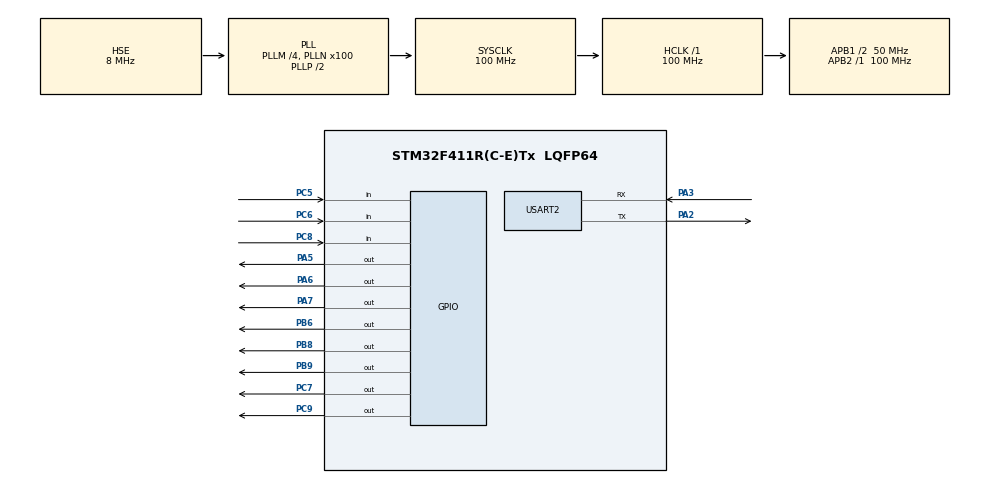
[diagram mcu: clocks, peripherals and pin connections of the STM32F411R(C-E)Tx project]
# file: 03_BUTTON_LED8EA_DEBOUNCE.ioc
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Mcu.Family=STM32F4
Mcu.Name=STM32F411R(C-E)Tx
Mcu.Package=LQFP64
NVIC.PriorityGroup=NVIC_PRIORITYGROUP_4
NVIC.USART2_IRQn=true\:0\:0\:false\:false\:true\:true\:true\:true
PA13.Mode=Serial_Wire
PA13.Signal=SYS_JTMS-SWDIO
PA14.Mode=Serial_Wire
PA14.Signal=SYS_JTCK-SWCLK
PA2.Mode=Asynchronous
PA2.Signal=USART2_TX
PA3.Mode=Asynchronous
PA3.Signal=USART2_RX
PA5.Signal=GPIO_Output
PA6.Signal=GPIO_Output
PA7.Signal=GPIO_Output
PB6.Signal=GPIO_Output
PB8.Signal=GPIO_Output
PB9.Signal=GPIO_Output
PC5.Signal=GPIO_Input
PC6.Signal=GPIO_Input
PC7.Signal=GPIO_Output
PC8.GPIO_Mode=GPIO_MODE_INPUT
PC8.Signal=GPIO_Input
PC9.Signal=GPIO_Output
PH0\ -\ OSC_IN.Mode=HSE-External-Oscillator
PH0\ -\ OSC_IN.Signal=RCC_OSC_IN
PH1\ -\ OSC_OUT.Mode=HSE-External-Oscillator
PH1\ -\ OSC_OUT.Signal=RCC_OSC_OUT
ProjectManager.HeapSize=0x200
ProjectManager.StackSize=0x400
ProjectManager.TargetToolchain=STM32CubeIDE
RCC.48MHZClocksFreq_Value=50000000
RCC.AHBFreq_Value=100000000
RCC.APB1CLKDivider=RCC_HCLK_DIV2
RCC.APB1Freq_Value=50000000
RCC.APB1TimFreq_Value=100000000
RCC.APB2Freq_Value=100000000
RCC.APB2TimFreq_Value=100000000
RCC.CortexFreq_Value=100000000
RCC.HCLKFreq_Value=100000000
RCC.HSE_VALUE=8000000
RCC.HSI_VALUE=16000000
RCC.LSE_VALUE=32768
RCC.PLLM=4
RCC.PLLN=100
RCC.PLLSourceVirtual=RCC_PLLSOURCE_HSE
RCC.SYSCLKFreq_VALUE=100000000
RCC.SYSCLKSource=RCC_SYSCLKSOURCE_PLLCLK
RCC.VCOOutputFreq_Value=200000000
USART2.VirtualMode=VM_ASYNC
board=custom

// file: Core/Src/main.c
/* USER CODE BEGIN Header */
/**
  ******************************************************************************
  * @file           : main.c
  * @brief          : Main program body
  ******************************************************************************
  * @attention
  *
  * Copyright (c) 2025 STMicroelectronics.
  * All rights reserved.
  *
  * This software is licensed under terms that can be found in the LICENSE file
  * in the root directory of this software component.
  * If no LICENSE file comes with this software, it is provided AS-IS.
  *
  ******************************************************************************
  */
/* USER CODE END Header */
#include "main.h"
#include "usart.h"
#include "gpio.h"

/* USER CODE BEGIN Includes */

#include "led.h"

/* USER CODE END Includes */

/* USER CODE BEGIN PD */

#define DEBOUNCE_DELAY  50 //디바운드 딜레이 50ms 주기 위해 선언!!

/* USER CODE END PD */

void SystemClock_Config(void);
/* USER CODE BEGIN PFP */

uint32_t millis() //뭔지 모르지만 32비트형 데이터를  반환
{
  return HAL_GetTick();
}

/* USER CODE END PFP */

int main(void)
{

  /* MCU Configuration--------------------------------------------------------*/

  /* Reset of all peripherals, Initializes the Flash interface and the Systick. */
  HAL_Init();

  /* Configure the system clock */
  SystemClock_Config();

  /* Initialize all configured peripherals */
  MX_GPIO_Init();
  MX_USART2_UART_Init();
  /* USER CODE BEGIN 2 */

  uint32_t lastDebounceTime = 0; //메인함수 안의 지역변수
  GPIO_PinState lastButtonState = GPIO_PIN_SET; // 마지막 버튼 상태.

  /* USER CODE END 2 */

  /* Infinite loop */
  /* USER CODE BEGIN WHILE */
  while (1)
  {
    // 현재 버튼 상태를 읽어오는 건데
    // 눌럿을때 LOW, 안눌렀으며 HIGH
    GPIO_PinState currentButtonState = HAL_GPIO_ReadPin(GPIOC, GPIO_PIN_8);

    // 기존의 상태와 (lastButtonState)와 비교를 하는데
    // 버튼 상태가 변했는지 확인
    if(currentButtonState != lastButtonState) //눌렀다는 애기
    {
      // 디바운스 시간 까지 대기 (단순하게.. 상태가 변해서 유지하는 시간이 설정한 50ms 지났느나)
      if(millis() - lastDebounceTime > DEBOUNCE_DELAY)
      {
        //현재 가져온 산태가 ... 버튼이 눌렀다면 .. (버튼이 눌리면 풀업저항이기 때문에  LOW 임)
        if(currentButtonState == GPIO_PIN_RESET)
        {
          //버튼 눌렸을때 실행할 코드
          ledOn(8);
        }
        else
        {
          // 버튼이 눌리지 않았을때 실행 할 코드
          ledOff(8);
        }

        lastDebounceTime = millis();
      }
    } // endif

    lastButtonState = currentButtonState;

    /* USER CODE END WHILE */

  }
}

void SystemClock_Config(void)
{
  RCC_OscInitTypeDef RCC_OscInitStruct = {0};
  RCC_ClkInitTypeDef RCC_ClkInitStruct = {0};

  /** Configure the main internal regulator output voltage
  */
  __HAL_RCC_PWR_CLK_ENABLE();
  __HAL_PWR_VOLTAGESCALING_CONFIG(PWR_REGULATOR_VOLTAGE_SCALE1);

  /** Initializes the RCC Oscillators according to the specified parameters
  * in the RCC_OscInitTypeDef structure.
  */
  RCC_OscInitStruct.OscillatorType = RCC_OSCILLATORTYPE_HSE;
  RCC_OscInitStruct.HSEState = RCC_HSE_ON;
  RCC_OscInitStruct.PLL.PLLState = RCC_PLL_ON;
  RCC_OscInitStruct.PLL.PLLSource = RCC_PLLSOURCE_HSE;
  RCC_OscInitStruct.PLL.PLLM = 4;
  RCC_OscInitStruct.PLL.PLLN = 100;
  RCC_OscInitStruct.PLL.PLLP = RCC_PLLP_DIV2;
  RCC_OscInitStruct.PLL.PLLQ = 4;
  if (HAL_RCC_OscConfig(&RCC_OscInitStruct) != HAL_OK)
  {
    Error_Handler();
  }

  /** Initializes the CPU, AHB and APB buses clocks
  */
  RCC_ClkInitStruct.ClockType = RCC_CLOCKTYPE_HCLK|RCC_CLOCKTYPE_SYSCLK
                              |RCC_CLOCKTYPE_PCLK1|RCC_CLOCKTYPE_PCLK2;
  RCC_ClkInitStruct.SYSCLKSource = RCC_SYSCLKSOURCE_PLLCLK;
  RCC_ClkInitStruct.AHBCLKDivider = RCC_SYSCLK_DIV1;
  RCC_ClkInitStruct.APB1CLKDivider = RCC_HCLK_DIV2;
  RCC_ClkInitStruct.APB2CLKDivider = RCC_HCLK_DIV1;

  if (HAL_RCC_ClockConfig(&RCC_ClkInitStruct, FLASH_LATENCY_3) != HAL_OK)
  {
    Error_Handler();
  }
}

void Error_Handler(void)
{
  __disable_irq();
  while (1)
  {
  }
}
